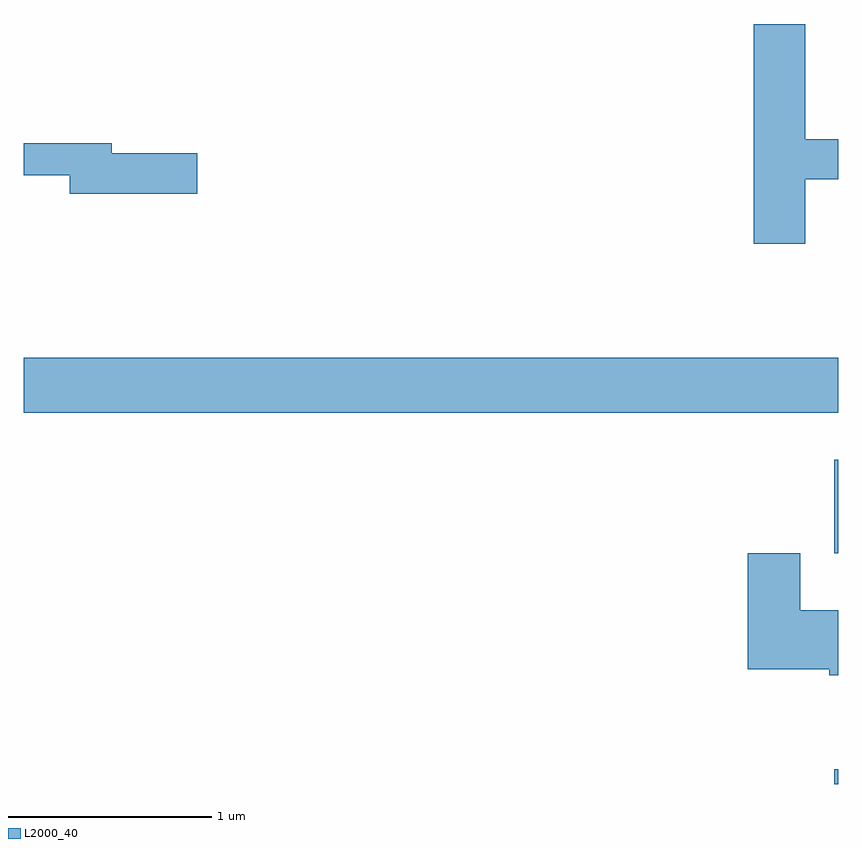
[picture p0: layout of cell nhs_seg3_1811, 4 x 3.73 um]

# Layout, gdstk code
import gdstk
lib = gdstk.Library(unit=1e-6, precision=1e-09)
def R(c, l, rs):  # rectangles x0, y0, x1, y1
    for r in rs: c.add(gdstk.rectangle(r[:2], r[2:], *l))
def P(c, l, *ps):  # polygons
    for p in ps: c.add(gdstk.Polygon(p, *l))
L2000_40 = (2000, 40)

nhs_seg3_1811 = lib.new_cell('nhs_seg3_1811')
R(nhs_seg3_1811, L2000_40, [(241.591,1201.892,241.611,1201.964), (241.591,1203.026,241.611,1203.484), (237.611,1203.716,241.611,1203.984)])
P(nhs_seg3_1811, L2000_40, [(241.449,1204.861),(241.611,1204.861),(241.611,1205.059),(241.449,1205.059),(241.449,1205.624),(241.196,1205.624),(241.196,1204.546),(241.449,1204.546)],
  [(238.464,1204.989),(238.044,1204.989),(238.044,1205.039),(237.611,1205.039),(237.611,1204.881),(237.836,1204.881),(237.836,1204.791),(238.464,1204.791)],
  [(241.611,1202.744),(241.424,1202.744),(241.424,1203.024),(241.166,1203.024),(241.166,1202.456),(241.566,1202.456),(241.566,1202.426),(241.611,1202.426)])

lib.write_gds('nhs_seg3_1811.gds')
